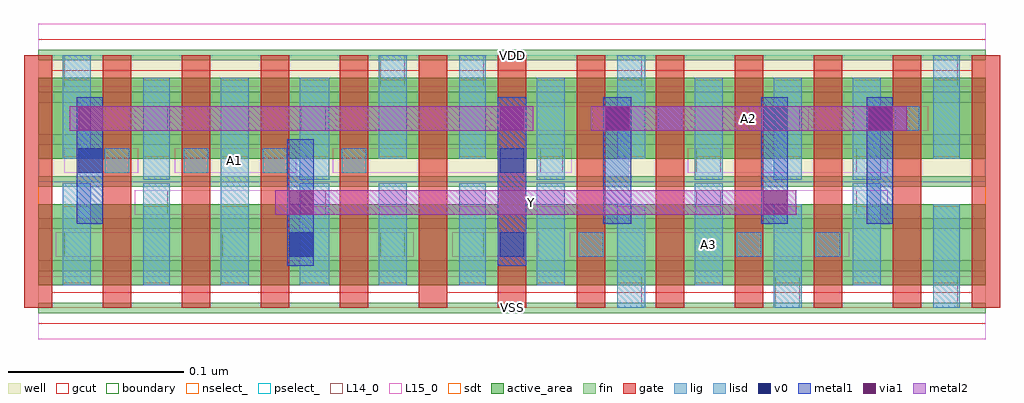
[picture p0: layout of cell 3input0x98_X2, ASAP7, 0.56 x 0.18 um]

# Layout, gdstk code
import gdstk
lib = gdstk.Library(unit=1e-6, precision=1e-09)
def R(c, l, rs):  # rectangles x0, y0, x1, y1
    for r in rs: c.add(gdstk.rectangle(r[:2], r[2:], *l))
def A(c, l, x, y, w, h, nx, ny, dx, dy):  # array of equal rectangles
    R(c, l, [(x+i*dx, y+j*dy, x+i*dx+w, y+j*dy+h) for i in range(nx) for j in range(ny)])
def P(c, l, *ps):  # polygons
    for p in ps: c.add(gdstk.Polygon(p, *l))
well = (1, 0)
fin = (2, 0)
gate = (7, 0)
gcut = (10, 0)
active_area = (11, 0)
nselect_ = (12, 0)
pselect_ = (13, 0)
L14_0 = (14, 0)
L15_0 = (15, 0)
lig = (16, 0)
lisd = (17, 0)
v0 = (18, 0)
metal1 = (19, 0)
metal2 = (20, 0)
via1 = (21, 0)
sdt = (88, 0)
boundary = (100, 0)

c_3input0x98_x2 = lib.new_cell('3input0x98_X2')
R(c_3input0x98_x2, well, [(0,0.072,0.54,0.144)])
A(c_3input0x98_x2, fin, 0, -0.003, 0.54, 0.006, 1, 7, 0, 0.024)
A(c_3input0x98_x2, gate, -0.008, 0, 0.016, 0.144, 13, 1, 0.045, 0)
P(c_3input0x98_x2, gcut, [(0,-0.009),(0,0),(-0.008,0),(-0.008,0.135),(0.008,0.135),(0.008,0.009),(0.217,0.009),(0.217,0.135),(0.233,0.135),(0.233,0.009),(0.532,0.009),(0.532,0.135),(-0.008,0.135),(-0.008,0.144),(0,0.144),(0,0.153),(0.54,0.153),(0.54,0.144),(0.548,0.144),(0.548,0),(0.54,0),(0.54,-0.009)])
R(c_3input0x98_x2, active_area, [(0,0.013,0.54,0.059), (0,0.085,0.54,0.131)])
R(c_3input0x98_x2, nselect_, [(0,0,0.54,0.072)])
R(c_3input0x98_x2, pselect_, [(0,0.072,0.54,0.144)])
A(c_3input0x98_x2, L14_0, 0.33, 0, 0.014, 0.018, 3, 1, 0.09, 0)
A(c_3input0x98_x2, L14_0, 0.038, 0.077, 0.014, 0.014, 4, 1, 0.045, 0)
R(c_3input0x98_x2, L14_0, [(0.015,0.029,0.03,0.043), (0.105,0.029,0.12,0.043), (0.195,0.029,0.209,0.043), (0.24,0.029,0.254,0.043), (0.308,0.029,0.322,0.043), (0.398,0.029,0.412,0.043), (0.443,0.029,0.457,0.043), (0.06,0.053,0.074,0.067), (0.15,0.053,0.164,0.067), (0.375,0.053,0.389,0.067), (0.466,0.053,0.48,0.067), (0.286,0.077,0.299,0.091), (0.375,0.077,0.389,0.091), (0.466,0.077,0.48,0.091), (0.06,0.101,0.074,0.115), (0.15,0.101,0.164,0.115), (0.263,0.101,0.277,0.115), (0.353,0.101,0.367,0.115), (0.42,0.101,0.434,0.115), (0.488,0.101,0.502,0.115), (0.015,0.126,0.03,0.144), (0.195,0.126,0.209,0.144), (0.24,0.126,0.254,0.144), (0.33,0.126,0.344,0.144), (0.51,0.126,0.524,0.144)])
R(c_3input0x98_x2, L15_0, [(0,-0.018,0.54,0.018), (0.01,0.029,0.214,0.043), (0.236,0.029,0.285,0.043), (0.303,0.029,0.462,0.043), (0.055,0.053,0.484,0.067), (0.015,0.077,0.057,0.091), (0.078,0.077,0.147,0.091), (0.168,0.077,0.304,0.091), (0.37,0.077,0.484,0.091), (0.055,0.101,0.17,0.115), (0.258,0.101,0.372,0.115), (0.405,0.101,0.439,0.115), (0.465,0.101,0.507,0.115), (0,0.126,0.54,0.162)])
A(c_3input0x98_x2, lig, 0.038, 0.077, 0.014, 0.014, 4, 1, 0.045, 0)
R(c_3input0x98_x2, lig, [(0.308,0.029,0.322,0.043), (0.398,0.029,0.412,0.043), (0.443,0.029,0.457,0.043), (0.263,0.101,0.277,0.115), (0.353,0.101,0.367,0.115), (0.488,0.101,0.502,0.115)])
A(c_3input0x98_x2, lisd, 0.194, 0.013, 0.016, 0.058, 4, 1, 0.09, 0)
A(c_3input0x98_x2, lisd, 0.374, 0.073, 0.016, 0.058, 3, 1, 0.045, 0)
R(c_3input0x98_x2, lisd, [(0.33,0,0.346,0.059), (0.419,0,0.435,0.059), (0.51,0,0.525,0.059), (0.014,0.013,0.03,0.071), (0.06,0.013,0.075,0.071), (0.104,0.013,0.12,0.131), (0.149,0.013,0.166,0.071), (0.24,0.013,0.255,0.071), (0.06,0.073,0.075,0.131), (0.149,0.073,0.166,0.131), (0.284,0.073,0.3,0.131), (0.014,0.085,0.03,0.144), (0.194,0.085,0.21,0.144), (0.24,0.085,0.255,0.144), (0.33,0.085,0.346,0.144), (0.51,0.085,0.525,0.144)])
R(c_3input0x98_x2, v0, [(0.143,0.029,0.157,0.043), (0.263,0.029,0.277,0.043), (0.023,0.077,0.037,0.091), (0.263,0.077,0.277,0.091), (0.323,0.101,0.337,0.115), (0.413,0.101,0.427,0.115), (0.473,0.101,0.487,0.115)])
R(c_3input0x98_x2, metal1, [(0.142,0.024,0.157,0.096), (0.262,0.024,0.278,0.12), (0.022,0.048,0.037,0.12), (0.322,0.048,0.338,0.12), (0.412,0.048,0.427,0.12), (0.472,0.048,0.487,0.12)])
R(c_3input0x98_x2, metal2, [(0.135,0.053,0.432,0.067), (0.018,0.101,0.282,0.115), (0.315,0.101,0.495,0.115)])
R(c_3input0x98_x2, via1, [(0.143,0.053,0.157,0.067), (0.413,0.053,0.427,0.067), (0.023,0.101,0.037,0.115), (0.263,0.101,0.277,0.115), (0.323,0.101,0.337,0.115), (0.473,0.101,0.487,0.115)])
A(c_3input0x98_x2, sdt, 0.014, 0.014, 0.016, 0.044, 4, 2, 0.09, 0.072)
A(c_3input0x98_x2, sdt, 0.374, 0.014, 0.016, 0.044, 3, 2, 0.045, 0.072)
R(c_3input0x98_x2, sdt, [(0.06,0.014,0.075,0.058), (0.149,0.014,0.166,0.058), (0.24,0.014,0.255,0.058), (0.33,0.014,0.346,0.058), (0.51,0.014,0.525,0.058), (0.06,0.086,0.075,0.13), (0.149,0.086,0.166,0.13), (0.24,0.086,0.255,0.13), (0.33,0.086,0.346,0.13), (0.51,0.086,0.525,0.13)])
R(c_3input0x98_x2, boundary, [(0,0,0.54,0.144)])
c_3input0x98_x2.add(gdstk.Label('A1', (0.112,0.084), layer=15, texttype=251))
c_3input0x98_x2.add(gdstk.Label('VSS', (0.27,0), layer=15, texttype=251))
c_3input0x98_x2.add(gdstk.Label('VDD', (0.27,0.144), layer=15, texttype=251))
c_3input0x98_x2.add(gdstk.Label('A3', (0.382,0.036), layer=15, texttype=251))
c_3input0x98_x2.add(gdstk.Label('VSS', (0.27,0), layer=15, texttype=251))
c_3input0x98_x2.add(gdstk.Label('VDD', (0.27,0.144), layer=15, texttype=251))
c_3input0x98_x2.add(gdstk.Label('VSS', (0.27,0), layer=15, texttype=251))
c_3input0x98_x2.add(gdstk.Label('VDD', (0.27,0.144), layer=15, texttype=251))
c_3input0x98_x2.add(gdstk.Label('VSS', (0.27,0), layer=15, texttype=251))
c_3input0x98_x2.add(gdstk.Label('VDD', (0.27,0.144), layer=15, texttype=251))
c_3input0x98_x2.add(gdstk.Label('VSS', (0.27,0), layer=3, texttype=251))
c_3input0x98_x2.add(gdstk.Label('VSS', (0.27,0), layer=3, texttype=251))
c_3input0x98_x2.add(gdstk.Label('VSS', (0.27,0), layer=3, texttype=251))
c_3input0x98_x2.add(gdstk.Label('VSS', (0.27,0), layer=3, texttype=251))
c_3input0x98_x2.add(gdstk.Label('VDD', (0.27,0.144), layer=1, texttype=251))
c_3input0x98_x2.add(gdstk.Label('VDD', (0.27,0.144), layer=1, texttype=251))
c_3input0x98_x2.add(gdstk.Label('VDD', (0.27,0.144), layer=1, texttype=251))
c_3input0x98_x2.add(gdstk.Label('VDD', (0.27,0.144), layer=1, texttype=251))
c_3input0x98_x2.add(gdstk.Label('Y', (0.281,0.06), layer=20, texttype=251))
c_3input0x98_x2.add(gdstk.Label('A2', (0.405,0.108), layer=20, texttype=251))

lib.write_gds('3input0x98_X2.gds')
